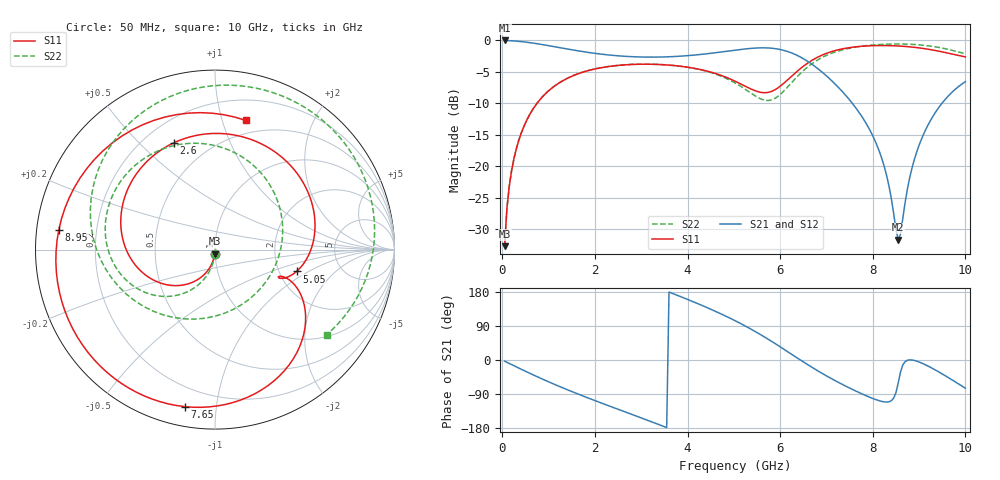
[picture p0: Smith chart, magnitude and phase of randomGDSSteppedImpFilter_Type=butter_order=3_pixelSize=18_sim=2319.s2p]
! freq	dB(S11)	phase(S11)	dB(S12)	phase(S12)
!  dB(S21)	phase(S21)	dB(S22)	phase(S22)
!S-par simulation data
#  GHz  S  DB  R 50
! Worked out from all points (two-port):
!   200 points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, 50 MHz to 10 GHz, reference 50 ohm
!   highest |S21| = 0.00 dB at 50 MHz (marker M1); lowest = -31.7 dB at 8.55 GHz (marker M2)
!   |S21| within 3 dB of the highest: start of sweep to 6.525 GHz
!   lowest |S11| = -32.7 dB at 50 MHz (marker M3), VSWR 1.05, Z = 49.8 - j2.32 ohm
!   |S11| at or under -10 dB: start of sweep to 748.8 MHz
!   |S22| runs from -32.7 to -0.6 dB; largest |S21 - S12| = 0
!   S11 on the Smith chart (normalised r, x): 50 MHz: 1.00, -0.05; 2.6 GHz: 0.32, +0.64; 5.05 GHz: 2.49, -0.78; 7.65 GHz: 0.10, -0.82; 8.95 GHz: 0.07, +0.06; 10 GHz: 0.38, +1.19
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0.05  -32.66 -93.5  -0.00 -3.0  -0.00 -3.0  -32.65 -92.6
0.1  -26.66 -97.1  -0.02 -6.1  -0.02 -6.1  -26.65 -95.4
0.2  -20.71 -104.2  -0.06 -12.1  -0.06 -12.1  -20.70 -100.7
0.5  -13.10 -124.6  -0.26 -29.7  -0.26 -29.7  -13.08 -115.9
1.1  -7.40 -163.1  -0.96 -62.9  -0.96 -62.9  -7.38 -143.8
1.75  -5.01 158.4  -1.79 -95.3  -1.79 -95.3  -4.99 -170.3
2.6  -3.91 110.9  -2.50 -134.6  -2.50 -134.6  -3.89 158.8
3.4  -3.83 67.0  -2.64 -171.3  -2.64 -171.3  -3.81 129.9
4.25  -4.57 21.4  -2.25 147.2  -2.25 147.2  -4.61 93.8
5.05  -6.55 -15.0  -1.52 102.3  -1.52 102.3  -6.85 42.9
5.55  -8.19 -23.9  -1.18 69.0  -1.18 69.0  -9.17 -14.3
6.05  -6.98 -22.2  -1.52 30.9  -1.52 30.9  -8.25 -98.7
6.35  -5.00 -29.6  -2.31 6.9  -2.31 6.9  -5.89 -141.3
6.7  -3.10 -46.1  -3.85 -20.2  -3.85 -20.2  -3.63 -179.8
7.1  -1.80 -68.7  -6.30 -48.7  -6.30 -48.7  -2.06 145.5
7.65  -1.00 -101.0  -10.87 -82.9  -10.87 -82.9  -1.03 106.6
8.1  -0.81 -128.1  -16.82 -105.9  -16.82 -105.9  -0.67 78.6
8.35  -0.82 -144.1  -23.12 -110.2  -23.12 -110.2  -0.58 63.7
8.55  -0.88 -157.6  -31.66 -60.3  -31.66 -60.3  -0.56 51.8
8.95  -1.14 172.7  -17.68 -3.1  -17.68 -3.1  -0.67 28.0
9.55  -1.89 120.2  -9.48 -40.4  -9.48 -40.4  -1.29 -8.8
10  -2.62 76.6  -6.55 -74.4  -6.55 -74.4  -2.13 -37.2
